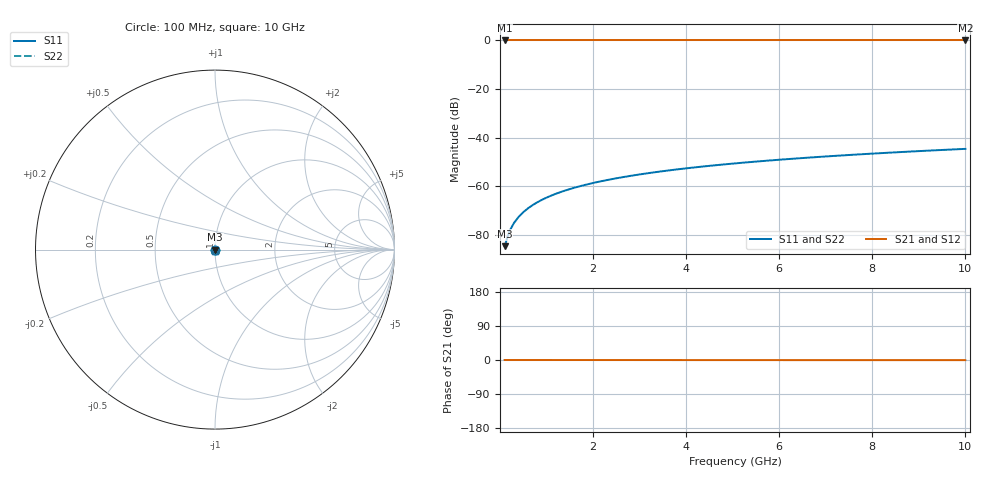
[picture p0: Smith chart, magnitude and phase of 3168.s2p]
# Hz S RI R 50.00
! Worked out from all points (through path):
!   100 points, 100 MHz to 10 GHz, reference 50 ohm
!   highest |S21| = 0.00 dB at 100 MHz (marker M1); lowest = 0.0 dB at 10 GHz (marker M2)
!   lowest |S11| = -84.8 dB at 100 MHz (marker M3), VSWR 1.00, Z = 50 - j0.00577 ohm
!   |S11| at or under -10 dB: start of sweep to end of sweep
!   |S22| runs from -84.8 to -44.7 dB; largest |S21 - S12| = 0
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1e8  1.82e-06 -5.77e-05  1 -7.21e-05  1 -7.21e-05  1.82e-06 -5.77e-05
2e8  1.76e-06 -0.000115  1 -0.000144  1 -0.000144  1.76e-06 -0.000115
3e8  1.68e-06 -0.000173  1 -0.000216  1 -0.000216  1.68e-06 -0.000173
4e8  1.6e-06 -0.000231  1 -0.000288  1 -0.000288  1.6e-06 -0.000231
5e8  1.51e-06 -0.000288  1 -0.000361  1 -0.000361  1.51e-06 -0.000288
6e8  1.41e-06 -0.000346  1 -0.000433  1 -0.000433  1.41e-06 -0.000346
7e8  1.3e-06 -0.000404  1 -0.000505  1 -0.000505  1.3e-06 -0.000404
9e8  1.05e-06 -0.000519  1 -0.000649  1 -0.000649  1.05e-06 -0.000519
1e9  9.14e-07 -0.000577  1 -0.000721  1 -0.000721  9.14e-07 -0.000577
1.2e9  6.15e-07 -0.000692  1 -0.000866  1 -0.000866  6.15e-07 -0.000692
1.5e9  1.02e-07 -0.000866  1 -0.00108  1 -0.00108  1.02e-07 -0.000866
1.8e9  -4.88e-07 -0.00104  1 -0.0013  1 -0.0013  -4.88e-07 -0.00104
2.1e9  -1.15e-06 -0.00121  1 -0.00152  1 -0.00152  -1.15e-06 -0.00121
2.5e9  -2.16e-06 -0.00144  1 -0.00181  1 -0.00181  -2.16e-06 -0.00144
2.9e9  -3.31e-06 -0.00168  1 -0.0021  1 -0.0021  -3.31e-06 -0.00168
3.4e9  -4.93e-06 -0.00197  1 -0.00246  1 -0.00246  -4.93e-06 -0.00197
4.2e9  -7.97e-06 -0.00243  1 -0.00304  1 -0.00304  -7.97e-06 -0.00243
5.1e9  -1.2e-05 -0.00296  1 -0.0037  1 -0.0037  -1.2e-05 -0.00296
5.9e9  -1.63e-05 -0.00342  1 -0.00428  1 -0.00428  -1.63e-05 -0.00342
6.7e9  -2.1e-05 -0.00389  1 -0.00487  1 -0.00487  -2.1e-05 -0.00389
8.4e9  -3.31e-05 -0.00489  1 -0.00612  1 -0.00612  -3.31e-05 -0.00489
1e10  -4.67e-05 -0.00584  0.9999 -0.0073  0.9999 -0.0073  -4.67e-05 -0.00584
